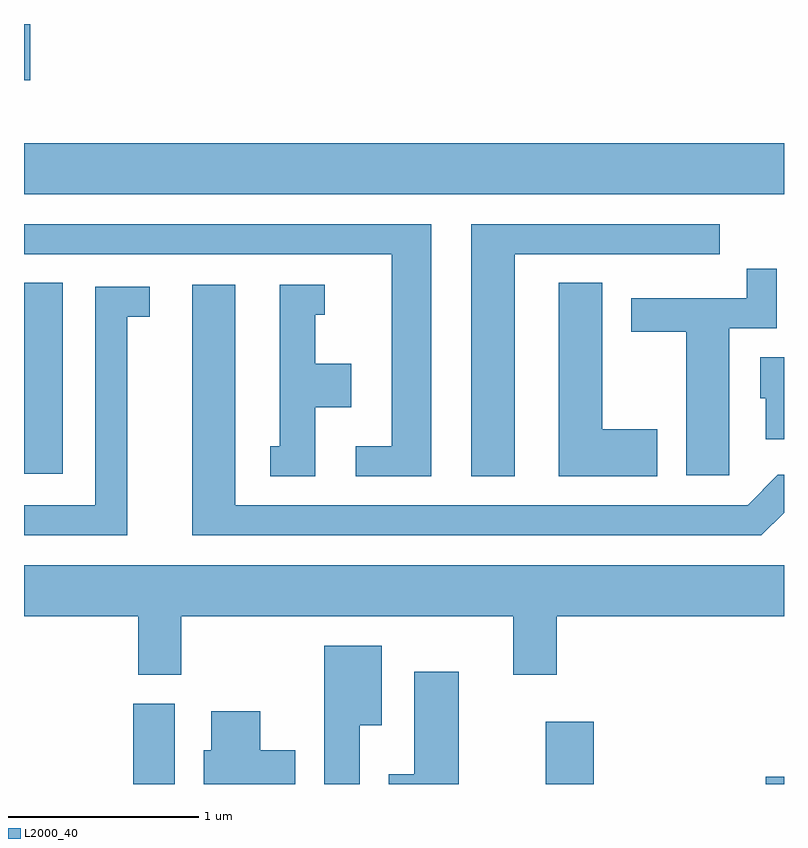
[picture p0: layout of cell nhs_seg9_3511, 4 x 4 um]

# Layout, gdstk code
import gdstk
lib = gdstk.Library(unit=1e-6, precision=1e-09)
def R(c, l, rs):  # rectangles x0, y0, x1, y1
    for r in rs: c.add(gdstk.rectangle(r[:2], r[2:], *l))
def P(c, l, *ps):  # polygons
    for p in ps: c.add(gdstk.Polygon(p, *l))
L2000_40 = (2000, 40)

nhs_seg9_3511 = lib.new_cell('nhs_seg9_3511')
R(nhs_seg9_3511, L2000_40, [(288.186,2046.432,288.404,2046.854), (290.356,2046.432,290.609,2046.759), (291.516,2046.432,291.611,2046.469), (287.611,2048.066,287.814,2049.069), (287.611,2049.536,291.611,2049.804), (287.611,2050.136,287.644,2050.432)])
P(nhs_seg9_3511, L2000_40, [(290.194,2049.221),(291.273,2049.221),(291.273,2049.379),(289.966,2049.379),(289.966,2048.051),(290.194,2048.051)],
  [(289.754,2049.379),(287.611,2049.379),(287.611,2049.221),(289.546,2049.221),(289.546,2048.209),(289.358,2048.209),(289.358,2048.051),(289.754,2048.051)],
  [(291.324,2048.831),(291.574,2048.831),(291.574,2049.143),(291.416,2049.143),(291.416,2048.989),(290.806,2048.989),(290.806,2048.811),(291.096,2048.811),(291.096,2048.056),(291.324,2048.056)],
  [(290.944,2048.299),(290.654,2048.299),(290.654,2049.069),(290.426,2049.069),(290.426,2048.051),(290.944,2048.051)],
  [(291.611,2047.86),(291.611,2048.059),(291.579,2048.059),(291.419,2047.899),(288.724,2047.899),(288.724,2049.059),(288.496,2049.059),(288.496,2047.741),(291.492,2047.741)],
  [(289.144,2048.416),(289.334,2048.416),(289.334,2048.644),(289.144,2048.644),(289.144,2048.901),(289.193,2048.901),(289.193,2049.059),(288.956,2049.059),(288.956,2048.209),(288.908,2048.209),(288.908,2048.051),(289.144,2048.051)],
  [(288.154,2048.891),(288.273,2048.891),(288.273,2049.049),(287.986,2049.049),(287.986,2047.899),(287.611,2047.899),(287.611,2047.741),(288.154,2047.741)],
  [(291.611,2048.679),(291.486,2048.679),(291.486,2048.461),(291.516,2048.461),(291.516,2048.246),(291.611,2048.246)],
  [(288.439,2047.316),(290.186,2047.316),(290.186,2047.006),(290.414,2047.006),(290.414,2047.316),(291.611,2047.316),(291.611,2047.584),(287.611,2047.584),(287.611,2047.316),(288.211,2047.316),(288.211,2047.006),(288.439,2047.006)],
  [(289.379,2046.741),(289.494,2046.741),(289.494,2047.159),(289.191,2047.159),(289.191,2046.432),(289.379,2046.432)],
  [(289.899,2047.024),(289.666,2047.024),(289.666,2046.484),(289.531,2046.484),(289.531,2046.432),(289.899,2046.432)],
  [(289.039,2046.609),(288.854,2046.609),(288.854,2046.814),(288.596,2046.814),(288.596,2046.609),(288.556,2046.609),(288.556,2046.432),(289.039,2046.432)])

lib.write_gds('nhs_seg9_3511.gds')
